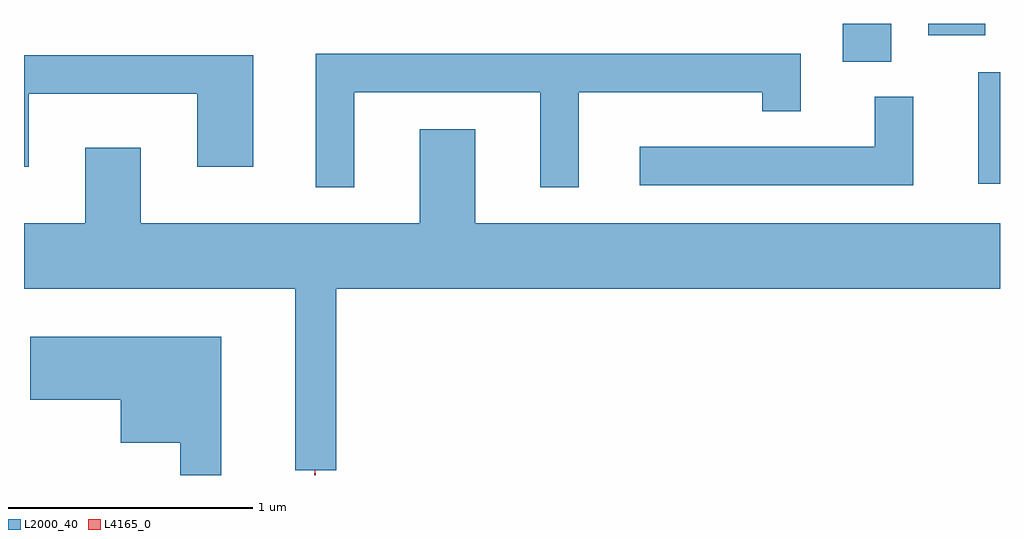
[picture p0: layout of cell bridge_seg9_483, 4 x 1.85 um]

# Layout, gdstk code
import gdstk
lib = gdstk.Library(unit=1e-6, precision=1e-09)
def R(c, l, rs):  # rectangles x0, y0, x1, y1
    for r in rs: c.add(gdstk.rectangle(r[:2], r[2:], *l))
def P(c, l, *ps):  # polygons
    for p in ps: c.add(gdstk.Polygon(p, *l))
L2000_40 = (2000, 40)
L4165_0 = (4165, 0)

bridge_seg9_483 = lib.new_cell('bridge_seg9_483')
R(bridge_seg9_483, L2000_40, [(565.501,1945.626,565.59,1946.084), (564.946,1946.126,565.144,1946.282), (565.296,1946.236,565.529,1946.282)])
P(bridge_seg9_483, L2000_40, [(562.944,1946.001),(563.706,1946.001),(563.706,1945.613),(563.864,1945.613),(563.864,1946.001),(564.616,1946.001),(564.616,1945.923),(564.774,1945.923),(564.774,1946.159),(562.786,1946.159),(562.786,1945.613),(562.944,1945.613)],
  [(561.609,1945.996),(562.301,1945.996),(562.301,1945.696),(562.529,1945.696),(562.529,1946.154),(561.59,1946.154),(561.59,1945.696),(561.609,1945.696)],
  [(565.234,1945.983),(565.076,1945.983),(565.076,1945.779),(564.113,1945.779),(564.113,1945.621),(565.234,1945.621)],
  [(562.869,1945.196),(565.59,1945.196),(565.59,1945.464),(563.439,1945.464),(563.439,1945.849),(563.211,1945.849),(563.211,1945.464),(562.069,1945.464),(562.069,1945.774),(561.841,1945.774),(561.841,1945.464),(561.59,1945.464),(561.59,1945.196),(562.701,1945.196),(562.701,1944.453),(562.869,1944.453)],
  [(562.399,1944.999),(561.616,1944.999),(561.616,1944.741),(561.986,1944.741),(561.986,1944.566),(562.231,1944.566),(562.231,1944.432),(562.399,1944.432)])
P(bridge_seg9_483, L4165_0, [(562.779,1944.432),(562.782,1944.45),(562.783,1944.45),(562.785,1944.432)],
  [(562.78,1944.432),(562.782,1944.446),(562.783,1944.447),(562.783,1944.446),(562.785,1944.432)])

lib.write_gds('bridge_seg9_483.gds')
